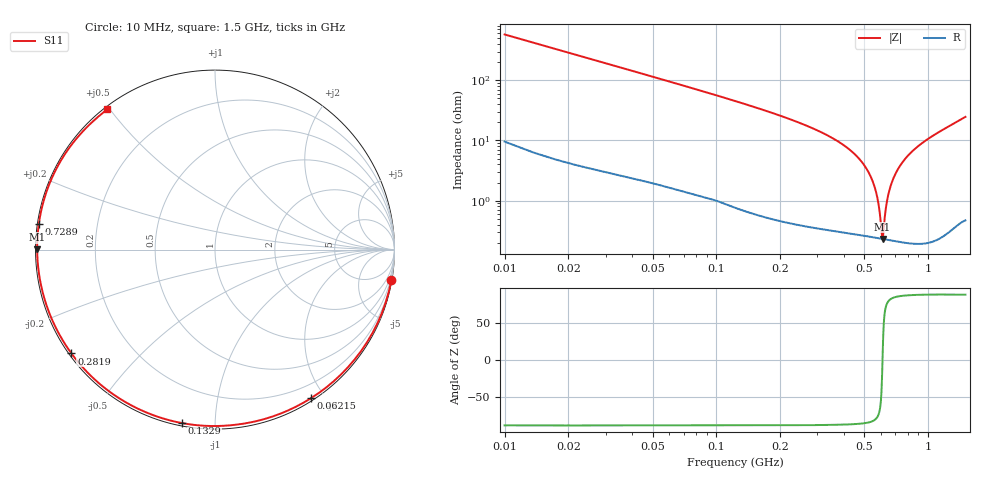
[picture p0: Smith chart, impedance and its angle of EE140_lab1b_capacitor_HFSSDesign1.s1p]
! Touchstone file exported from HFSS 2026.1.0
!  File:  C:/Users/017978376/Documents/EE140L/EE140L/lab1b_capacitor/EE140_lab1b_capacitor.aedt
!  Generated:  04:34:15 PM Nov 11, 2026
!  Design:  HFSSDesign1
!  Project:  EE140_lab1b_capacitor
!  Setup:  Setup1
!  Solution:  Sweep
! Variables:
!  $h = 1.6mm
!  cu_th = 0.035mm
!  er = 4.4
!  h = 1.6mm
!  inputStrip_width = 3mm
!  substract_height = 40mm
!  substract_width = 40mm
!  topPlate_length = 30mm
!  topPlate_width = 30mm
# GHz S MA R 50.000000
! Terminal data exported
! Port[1] = 1
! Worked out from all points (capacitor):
!   401 points, 10 MHz to 1.5 GHz, reference 50 ohm
!   read as one part to ground: C = 27.5 pF near 17.45 MHz
!   lowest |Z| = 231 mohm at 609.7 MHz (marker M1)
!   series resonance near 609.1 MHz, so ESL is about 2.5 nH
!   S11 on the Smith chart (normalised r, x): 10 MHz: 0, -12; 62.15 MHz: 0.03, -1.84; 132.9 MHz: 0.01, -0.83; 281.9 MHz: 0.01, -0.32; 728.9 MHz: 0.00, +0.07; 1.5 GHz: 0.01, +0.49
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0.01  0.9972 -9.9
! Gamma 0 0
! Port Impedance 50 0
0.013725  0.9965 -13.6
0.021175  0.9948 -20.8
0.03235  0.9919 -31.4
0.04725  0.9883 -44.7
0.06215  0.9857 -57.0
0.07705  0.984 -68.2
0.09195  0.9829 -78.3
0.110575  0.983 -89.3
0.132925  0.9838 -100.7
0.147825  0.9843 -107.2
0.162725  0.9848 -113.1
0.177625  0.9852 -118.4
0.19625  0.9856 -124.2
0.214875  0.986 -129.4
0.237225  0.9864 -134.9
0.281925  0.9871 -144.1
0.326625  0.9878 -151.5
0.3825  0.9884 -159.0
0.46445  0.9893 -167.9
0.56875  0.9904 -176.9
0.609725  0.9908 180.0
0.728925  0.9918 171.8
0.755  0.992 170.2
0.94125  0.9926 159.3
1.1275  0.9914 149.0
1.31375  0.9882 138.7
1.5  0.985 127.5
